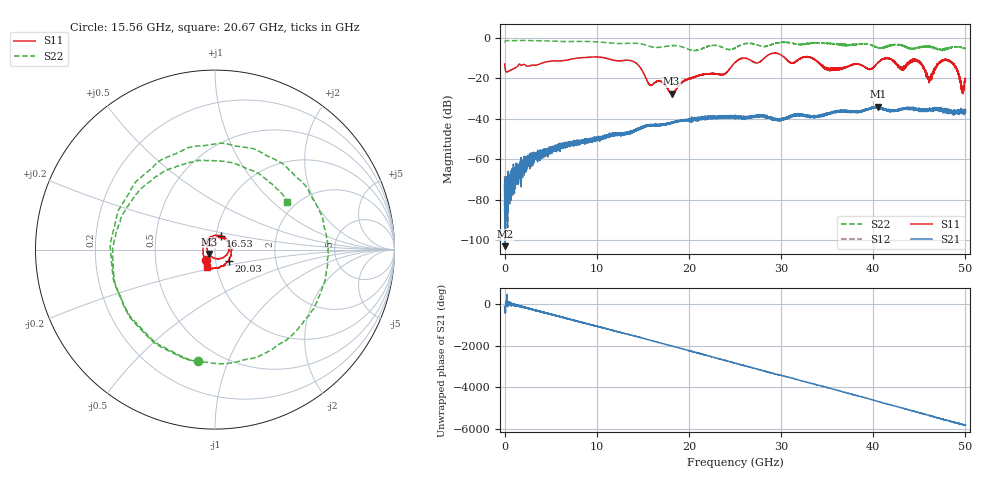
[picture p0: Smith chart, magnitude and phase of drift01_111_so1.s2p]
!Created with skrf (http://scikit-rf.org).
# Hz S RI R 50.0
!freq ReS11 ImS11 ReS21 ImS21 ReS12 ImS12 ReS22 ImS22
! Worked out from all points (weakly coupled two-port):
!   10001 points, 300 kHz to 50 GHz, reference 50 ohm
!   highest |S21| = -34.00 dB at 40.53 GHz (marker M1); lowest = -102.9 dB at 20.3 MHz (marker M2)
!   lowest |S11| = -27.7 dB at 18.12 GHz (marker M3), VSWR 1.09, Z = 46.8 - j2.34 ohm
!   |S11| at or under -10 dB: start of sweep to 8.068 GHz; 10.91 GHz to 26.01 GHz (15.1 GHz wide, 81.8 % of centre); 41.57 GHz to end of sweep (the widest 3 of 14)
!   |S22| runs from -6.4 to -1.4 dB; largest |S21 - S12| = 0.0041
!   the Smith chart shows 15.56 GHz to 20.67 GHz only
!   S11 on the Smith chart (normalised r, x): 15.56 GHz: 0.89, -0.11; 16.53 GHz: 1.05, +0.16; 20.03 GHz: 1.16, -0.15; 20.67 GHz: 0.90, -0.18
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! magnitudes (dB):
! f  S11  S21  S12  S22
! 300 kHz  -13.0  -75.9  -68.3  -2.0
! 20.3 MHz  -13.7  -102.9  -76.9  -1.9
! 2.56 GHz  -14.0  -62.9  -59.4  -1.4
! 8.335 GHz  -9.9  -51.7  -51.1  -1.8
! 13.87 GHz  -11.5  -46.7  -46.6  -2.7
! 15.56 GHz  -22.1  -43.2  -43.4  -4.0
! 16.53 GHz  -21.5  -43.1  -43.1  -4.8
! 16.67 GHz  -21.3  -42.9  -43.2  -4.8
! 18.12 GHz  -27.7  -41.8  -42.0  -3.9
! 20.03 GHz  -19.9  -41.4  -41.3  -5.9
! 20.67 GHz  -19.3  -39.8  -39.8  -6.3
! 25 GHz  -12.2  -39.1  -39.3  -5.1
! 33.34 GHz  -10.0  -38.9  -38.6  -2.6
! 35.23 GHz  -15.3  -37.4  -37.5  -2.9
! 40.53 GHz  -12.2  -34.0  -34.4  -5.1
! 41.67 GHz  -10.3  -35.5  -36.1  -4.1
! 43.07 GHz  -15.8  -35.5  -35.6  -3.7
! 44.82 GHz  -11.1  -35.1  -35.8  -5.0
! 46.12 GHz  -19.4  -34.7  -35.5  -4.2
! 48.09 GHz  -11.3  -35.5  -36.4  -5.1
! 49.64 GHz  -23.9  -36.0  -36.1  -4.7
! 50 GHz  -21.3  -35.6  -35.5  -5.3
